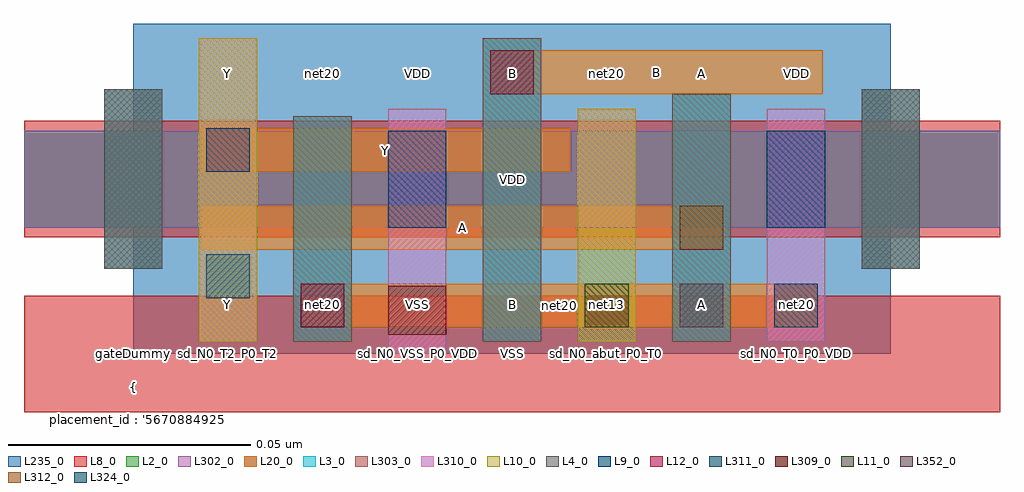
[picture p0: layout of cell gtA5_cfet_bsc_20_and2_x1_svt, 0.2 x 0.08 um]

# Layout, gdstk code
import gdstk
lib = gdstk.Library(unit=1e-6, precision=2.5e-10)
def R(c, l, rs):  # rectangles x0, y0, x1, y1
    for r in rs: c.add(gdstk.rectangle(r[:2], r[2:], *l))
L2_0 = (2, 0)
L3_0 = (3, 0)
L4_0 = (4, 0)
L8_0 = (8, 0)
L9_0 = (9, 0)
L10_0 = (10, 0)
L11_0 = (11, 0)
L12_0 = (12, 0)
L20_0 = (20, 0)
L235_0 = (235, 0)
L302_0 = (302, 0)
L303_0 = (303, 0)
L309_0 = (309, 0)
L310_0 = (310, 0)
L311_0 = (311, 0)
L312_0 = (312, 0)
L324_0 = (324, 0)
L352_0 = (352, 0)

gta5_cfet_bsc_20_and2_x1 = lib.new_cell('gtA5_cfet_bsc_20_and2_x1_svt')
R(gta5_cfet_bsc_20_and2_x1, L2_0, [(-0.0225,0.026,0.1785,0.046)])
R(gta5_cfet_bsc_20_and2_x1, L3_0, [(0.033,0.0025,0.045,0.049), (0.072,0.0025,0.084,0.065), (0.111,0.0025,0.123,0.0535), (-0.006,0.0175,0.006,0.0545), (0.15,0.0175,0.162,0.0545)])
R(gta5_cfet_bsc_20_and2_x1, L4_0, [(-0.006,0.0175,0.006,0.0545), (0.15,0.0175,0.162,0.0545)])
R(gta5_cfet_bsc_20_and2_x1, L8_0, [(-0.0225,-0.012,0.1785,0.012), (-0.0225,0.024,0.1785,0.048)])
R(gta5_cfet_bsc_20_and2_x1, L9_0, [(0.0525,0.026,0.0645,0.046), (0.1305,0.026,0.1425,0.046)])
R(gta5_cfet_bsc_20_and2_x1, L10_0, [(0.0135,0.0025,0.0255,0.065), (0.0915,0.0025,0.1035,0.0505)])
R(gta5_cfet_bsc_20_and2_x1, L11_0, [(0.093,0.0055,0.102,0.0145)])
R(gta5_cfet_bsc_20_and2_x1, L12_0, [(0.0345,0.0055,0.0435,0.0145), (0.0735,0.0535,0.0825,0.0625)])
R(gta5_cfet_bsc_20_and2_x1, L20_0, [(0.0345,0.0055,0.141,0.0145), (0.014,0.0215,0.1215,0.0305), (0.014,0.0375,0.09,0.0465), (0.0735,0.0535,0.142,0.0625)])
R(gta5_cfet_bsc_20_and2_x1, L235_0, [(0,0,0.156,0.068)])
R(gta5_cfet_bsc_20_and2_x1, L302_0, [(-0.0225,0.026,0.1785,0.046)])
R(gta5_cfet_bsc_20_and2_x1, L303_0, [(0.033,0.0025,0.045,0.049), (0.072,0.0025,0.084,0.065), (0.111,0.0025,0.123,0.0535), (-0.006,0.0175,0.006,0.0545), (0.15,0.0175,0.162,0.0545)])
R(gta5_cfet_bsc_20_and2_x1, L309_0, [(0.0525,0.004,0.0645,0.014)])
R(gta5_cfet_bsc_20_and2_x1, L310_0, [(0.0525,0,0.0645,0.0505), (0.0135,0.0025,0.0255,0.065), (0.1305,0.0025,0.1425,0.0505), (0.0915,0.026,0.1035,0.0505)])
R(gta5_cfet_bsc_20_and2_x1, L311_0, [(0.132,0.0055,0.141,0.0145), (0.015,0.0375,0.024,0.0465)])
R(gta5_cfet_bsc_20_and2_x1, L312_0, [(0.1125,0.0215,0.1215,0.0305)])
R(gta5_cfet_bsc_20_and2_x1, L324_0, [(0.015,0.0115,0.024,0.0205)])
R(gta5_cfet_bsc_20_and2_x1, L352_0, [(0.1125,0.0055,0.1215,0.0145)])
gta5_cfet_bsc_20_and2_x1.add(gdstk.Label('net20', (0.0878,0.01), layer=100, texttype=100))
gta5_cfet_bsc_20_and2_x1.add(gdstk.Label('gateDummy', (0,0), layer=103, texttype=103))
gta5_cfet_bsc_20_and2_x1.add(gdstk.Label('sd_N0_T2_P0_T2', (0.0195,0), layer=103, texttype=103))
gta5_cfet_bsc_20_and2_x1.add(gdstk.Label('gate_N0_T0_P0_T0', (0.039,0), layer=103, texttype=103))
gta5_cfet_bsc_20_and2_x1.add(gdstk.Label('sd_N0_VSS_P0_VDD', (0.0585,0), layer=103, texttype=103))
gta5_cfet_bsc_20_and2_x1.add(gdstk.Label('gate_N0_T3_P0_T3', (0.078,0), layer=103, texttype=103))
gta5_cfet_bsc_20_and2_x1.add(gdstk.Label('sd_N0_abut_P0_T0', (0.0975,0), layer=103, texttype=103))
gta5_cfet_bsc_20_and2_x1.add(gdstk.Label('gate_N0_T1_P0_T1', (0.117,0), layer=103, texttype=103))
gta5_cfet_bsc_20_and2_x1.add(gdstk.Label('sd_N0_T0_P0_VDD', (0.1365,0), layer=103, texttype=103))
gta5_cfet_bsc_20_and2_x1.add(gdstk.Label('gateDummy', (0.156,0), layer=103, texttype=103))
gta5_cfet_bsc_20_and2_x1.add(gdstk.Label('}', (0,-0.0742), layer=104, texttype=104))
gta5_cfet_bsc_20_and2_x1.add(gdstk.Label('  power : None', (0,-0.0675), layer=104, texttype=104))
gta5_cfet_bsc_20_and2_x1.add(gdstk.Label('  performance : None', (0,-0.0607), layer=104, texttype=104))
gta5_cfet_bsc_20_and2_x1.add(gdstk.Label("  solution_hash : '12884756053818281516'", (0,-0.054), layer=104, texttype=104))
gta5_cfet_bsc_20_and2_x1.add(gdstk.Label('  number_m2 : 0', (0,-0.0473), layer=104, texttype=104))
gta5_cfet_bsc_20_and2_x1.add(gdstk.Label('  number_m1 : 0', (0,-0.0405), layer=104, texttype=104))
gta5_cfet_bsc_20_and2_x1.add(gdstk.Label('  number_m0cuts : 0', (0,-0.0338), layer=104, texttype=104))
gta5_cfet_bsc_20_and2_x1.add(gdstk.Label('  number_m0 : 4', (0,-0.027), layer=104, texttype=104))
gta5_cfet_bsc_20_and2_x1.add(gdstk.Label("  solution_number : '0000'", (0,-0.0203), layer=104, texttype=104))
gta5_cfet_bsc_20_and2_x1.add(gdstk.Label("  placement_id : '5670884925690252422'", (0,-0.0135), layer=104, texttype=104))
gta5_cfet_bsc_20_and2_x1.add(gdstk.Label('{', (0,-0.0067), layer=104, texttype=104))
gta5_cfet_bsc_20_and2_x1.add(gdstk.Label('Y', (0.0195,0.0103), layer=105, texttype=105))
gta5_cfet_bsc_20_and2_x1.add(gdstk.Label('net20', (0.039,0.0103), layer=105, texttype=105))
gta5_cfet_bsc_20_and2_x1.add(gdstk.Label('VSS', (0.0585,0.0103), layer=105, texttype=105))
gta5_cfet_bsc_20_and2_x1.add(gdstk.Label('B', (0.078,0.0103), layer=105, texttype=105))
gta5_cfet_bsc_20_and2_x1.add(gdstk.Label('net13', (0.0975,0.0103), layer=105, texttype=105))
gta5_cfet_bsc_20_and2_x1.add(gdstk.Label('A', (0.117,0.0103), layer=105, texttype=105))
gta5_cfet_bsc_20_and2_x1.add(gdstk.Label('net20', (0.1365,0.0103), layer=105, texttype=105))
gta5_cfet_bsc_20_and2_x1.add(gdstk.Label('Y', (0.0195,0.0578), layer=105, texttype=105))
gta5_cfet_bsc_20_and2_x1.add(gdstk.Label('net20', (0.039,0.0578), layer=105, texttype=105))
gta5_cfet_bsc_20_and2_x1.add(gdstk.Label('VDD', (0.0585,0.0578), layer=105, texttype=105))
gta5_cfet_bsc_20_and2_x1.add(gdstk.Label('B', (0.078,0.0578), layer=105, texttype=105))
gta5_cfet_bsc_20_and2_x1.add(gdstk.Label('net20', (0.0975,0.0578), layer=105, texttype=105))
gta5_cfet_bsc_20_and2_x1.add(gdstk.Label('A', (0.117,0.0578), layer=105, texttype=105))
gta5_cfet_bsc_20_and2_x1.add(gdstk.Label('VDD', (0.1365,0.0578), layer=105, texttype=105))
gta5_cfet_bsc_20_and2_x1.add(gdstk.Label('VSS', (0.078,0), layer=8, texttype=0))
gta5_cfet_bsc_20_and2_x1.add(gdstk.Label('VDD', (0.078,0.036), layer=8, texttype=0))
gta5_cfet_bsc_20_and2_x1.add(gdstk.Label('A', (0.0678,0.026), layer=20, texttype=251))
gta5_cfet_bsc_20_and2_x1.add(gdstk.Label('Y', (0.052,0.042), layer=20, texttype=251))
gta5_cfet_bsc_20_and2_x1.add(gdstk.Label('B', (0.1077,0.058), layer=20, texttype=251))
gta5_cfet_bsc_20_and2_x1.add(gdstk.Label('gtA5_cfet_bsc_20nm_and2_x1_rvt_0', (0,0), layer=235, texttype=0))

lib.write_gds('gtA5_cfet_bsc_20_and2_x1_svt.gds')
